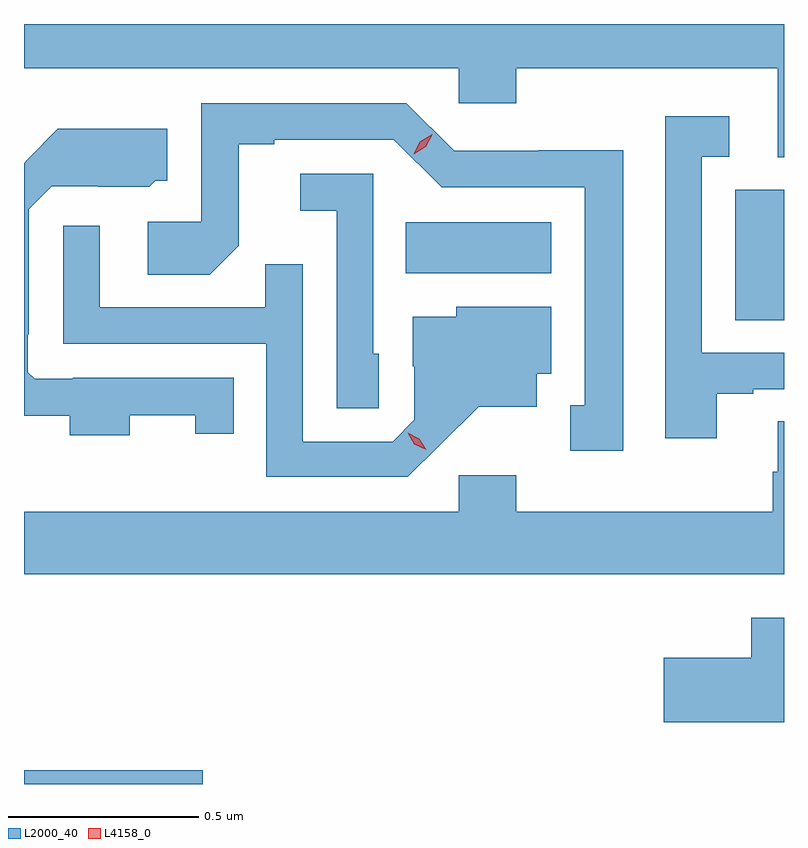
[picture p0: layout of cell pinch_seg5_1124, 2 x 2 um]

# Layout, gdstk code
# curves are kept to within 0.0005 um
import gdstk
lib = gdstk.Library(unit=1e-6, precision=1e-09)
def R(c, l, rs):  # rectangles x0, y0, x1, y1
    for r in rs: c.add(gdstk.rectangle(r[:2], r[2:], *l))
def P(c, l, *ps):  # polygons
    for p in ps: c.add(gdstk.Polygon(p, *l))
L2000_40 = (2000, 40)
L4158_0 = (4158, 0)

pinch_seg5_1124 = lib.new_cell('pinch_seg5_1124')
R(pinch_seg5_1124, L2000_40, [(804.584,865.532,805.054,865.568), (806.456,866.752,806.584,867.096), (805.588,866.876,805.972,867.01)])
P(pinch_seg5_1124, L2000_40, [(806.584,867.532),(804.584,867.532),(804.584,867.416),(805.728,867.416),(805.728,867.323),(805.88,867.323),(805.88,867.416),(806.567,867.416),(806.567,867.181),(806.584,867.181)],
  [(806.161,867.2),(805.938,867.2),(805.938,867.198),(805.716,867.198),(805.59,867.324),(805.05,867.324),(805.05,867.012),(804.909,867.012),(804.909,866.872),(805.073,866.872),(805.149,866.948),(805.149,867.216),(805.243,867.216),(805.243,867.228),(805.557,867.228),(805.683,867.102),(806.06,867.102),(806.06,866.529),(806.021,866.529),(806.021,866.409),(806.161,866.409)],
  [(806.407,866.559),(806.503,866.559),(806.503,866.571),(806.584,866.571),(806.584,866.667),(806.367,866.667),(806.367,867.183),(806.44,867.183),(806.44,867.289),(806.271,867.289),(806.271,866.442),(806.407,866.442)],
  [(804.862,866.503),(805.035,866.503),(805.035,866.454),(805.136,866.454),(805.136,866.601),(804.712,866.601),(804.712,866.598),(804.612,866.598),(804.594,866.616),(804.594,866.716),(804.597,866.716),(804.597,867.045),(804.657,867.105),(804.78,867.105),(804.78,867.104),(804.914,867.104),(804.93,867.12),(804.961,867.12),(804.961,867.256),(804.673,867.256),(804.584,867.166),(804.584,866.501),(804.704,866.501),(804.704,866.45),(804.862,866.45)],
  [(805.518,866.664),(805.503,866.664),(805.503,867.138),(805.311,867.138),(805.311,867.041),(805.407,867.041),(805.407,866.521),(805.518,866.521)],
  [(805.678,866.423),(805.781,866.525),(805.933,866.525),(805.933,866.612),(805.972,866.612),(805.972,866.788),(805.722,866.788),(805.722,866.761),(805.607,866.761),(805.607,866.632),(805.611,866.632),(805.611,866.49),(805.554,866.433),(805.317,866.433),(805.317,866.9),(805.219,866.9),(805.219,866.787),(804.783,866.787),(804.783,867.001),(804.687,867.001),(804.687,866.691),(805.221,866.691),(805.221,866.34),(805.594,866.34)],
  [(806.584,866.486),(806.567,866.486),(806.567,866.354),(806.555,866.354),(806.555,866.248),(805.88,866.248),(805.88,866.344),(805.728,866.344),(805.728,866.248),(804.584,866.248),(804.584,866.084),(806.584,866.084)],
  [(806.584,865.969),(806.498,865.969),(806.498,865.864),(806.268,865.864),(806.268,865.694),(806.584,865.694)])
P(pinch_seg5_1124, L4158_0, [(805.609,867.189),(805.609,867.19),(805.626,867.222),(805.658,867.242),(805.658,867.242),(805.658,867.241),(805.641,867.209),(805.609,867.189)],
  [(805.642,866.411),(805.611,866.426),(805.594,866.456),(805.594,866.456),(805.594,866.456),(805.624,866.441),(805.642,866.412),(805.642,866.411)])

lib.write_gds('pinch_seg5_1124.gds')
